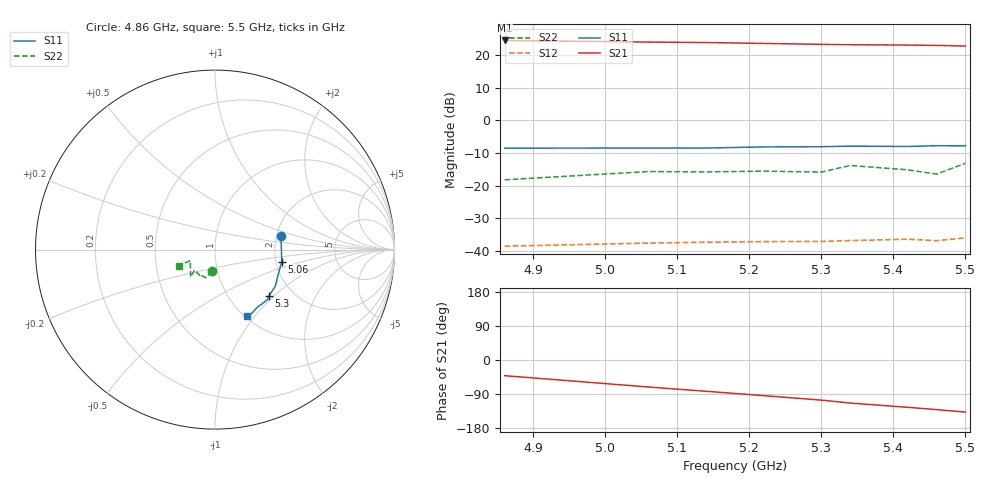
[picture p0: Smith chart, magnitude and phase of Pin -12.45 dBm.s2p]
! RsaToolbox (C) 2015 Rohde & Schwarz America
! Number of points: 9
! Number of ports: 2
! Balanced ports?: No
# Hz S RI R 50
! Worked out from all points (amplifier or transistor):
!   9 points, 4.86 GHz to 5.5 GHz, reference 50 ohm
!   highest |S21| = 24.5 dB at 4.86 GHz (marker M1)
!   |S21| within 3 dB of that: start of sweep to end of sweep
!   unconditionally stable (mu >= 1): start of sweep to end of sweep
!   at 5.06 GHz: K = 2.04, MAG = 25.0 dB, |S12| = -37.6 dB
!   at 5.3 GHz: K = 2.05, MAG = 24.4 dB, |S12| = -37.1 dB
!   at 5.5 GHz: K = 1.85, MAG = 24.1 dB, |S12| = -36.0 dB
!   S11 on the Smith chart (normalised r, x): 4.86 GHz: 2.12, +0.38; 5.06 GHz: 2.15, -0.34; 5.3 GHz: 1.51, -0.93; 5.5 GHz: 1.02, -0.91
4.86e9  0.368 0.0771  12.68 -11.15  0.00713 -0.00941  -0.0167 -0.122
5.06e9  0.3718 -0.0684  5.116 -15.11  0.00333 -0.0127  -0.051 -0.1566
5.14e9  0.3526 -0.1358  2.03 -15.56  0.001 -0.0136  -0.0854 -0.1384
5.22e9  0.3368 -0.2024  -1.08 -15.15  -0.00109 -0.0138  -0.0852 -0.1438
5.3e9  0.3004 -0.2587  -4.028 -14.17  -0.00321 -0.0135  -0.1143 -0.1142
5.34e9  0.2904 -0.2805  -5.813 -13.31  -0.00397 -0.0138  -0.1358 -0.1522
5.42e9  0.2338 -0.3234  -8.201 -11.77  -0.00653 -0.0136  -0.1365 -0.1095
5.46e9  0.2039 -0.3562  -9.278 -10.71  -0.00773 -0.0121  -0.1374 -0.0614
5.5e9  0.1763 -0.369  -10.22 -9.364  -0.00899 -0.013  -0.2016 -0.0891
